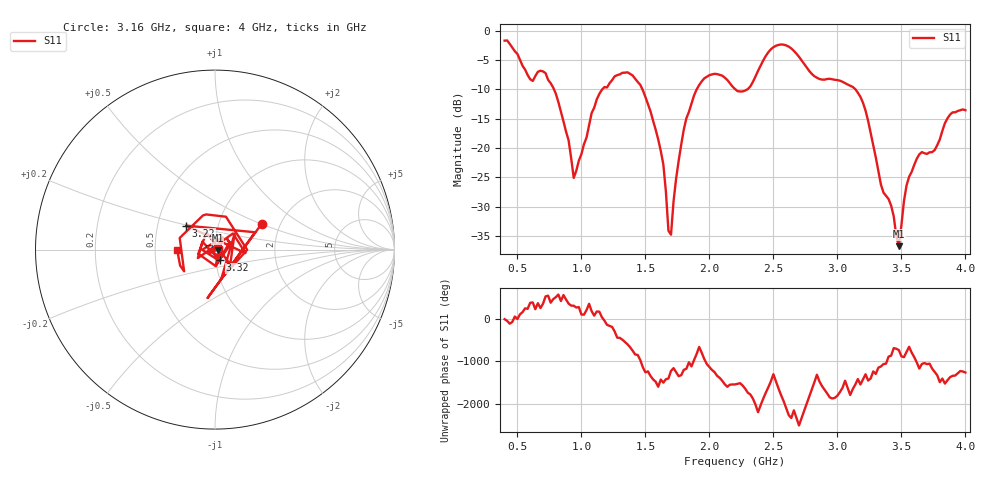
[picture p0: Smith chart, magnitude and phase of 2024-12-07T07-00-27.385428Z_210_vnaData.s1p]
!Created with skrf (http://scikit-rf.org).
# Hz S RI R 50.0
!freq ReS11 ImS11
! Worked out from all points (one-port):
!   181 points, 400 MHz to 4 GHz, reference 50 ohm
!   lowest |S11| = -36.7 dB at 3.48 GHz (marker M1), VSWR 1.03, Z = 51.4 - j0.411 ohm
!   |S11| at or under -10 dB: 785.9 MHz to 1.162 GHz (376.2 MHz wide, 38.6 % of centre); 1.477 GHz to 1.9 GHz (423.1 MHz wide, 25.1 % of centre); 3.142 GHz to end of sweep (the widest 3 of 4)
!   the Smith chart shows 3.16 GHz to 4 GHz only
!   S11 on the Smith chart (normalised r, x): 3.16 GHz: 1.60, +0.50; 3.22 GHz: 0.70, +0.20; 3.32 GHz: 1.05, -0.12; 4 GHz: 0.65, -0.00
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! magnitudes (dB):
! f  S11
! 400 MHz  -1.7
! 600 MHz  -8.3
! 720 MHz  -7.2
! 860 MHz  -15.4
! 940 MHz  -25.1
! 1.12 GHz  -11.7
! 1.3 GHz  -7.4
! 1.4 GHz  -7.6
! 1.54 GHz  -13.7
! 1.64 GHz  -22.8
! 1.68 GHz  -34.1
! 1.7 GHz  -34.8
! 1.76 GHz  -22.1
! 1.82 GHz  -14.9
! 1.94 GHz  -8.6
! 2.2 GHz  -9.9
! 2.32 GHz  -9.5
! 2.5 GHz  -2.8
! 2.66 GHz  -3.4
! 2.82 GHz  -7.7
! 3.1 GHz  -9.4
! 3.16 GHz  -10.6
! 3.22 GHz  -13.6
! 3.32 GHz  -23.9
! 3.48 GHz  -36.7
! 3.56 GHz  -24.9
! 3.88 GHz  -14.3
! 4 GHz  -13.5
